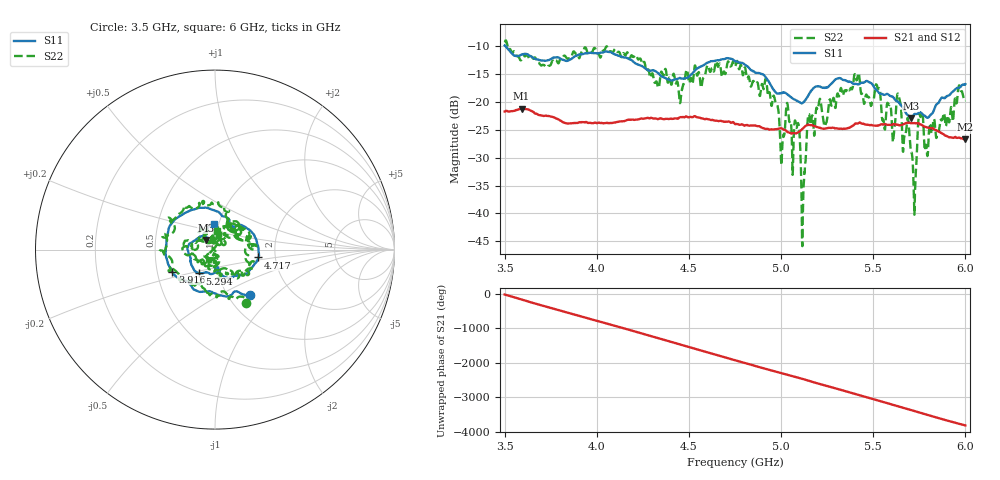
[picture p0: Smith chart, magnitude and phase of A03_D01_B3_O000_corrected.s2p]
! Created with skrf 1.9.0 (http://scikit-rf.org).
# Hz S RI R 50.0
!freq ReS11 ImS11 ReS21 ImS21 ReS12 ImS12 ReS22 ImS22
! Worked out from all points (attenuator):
!   1601 points, 3.5 GHz to 6 GHz, reference 50 ohm
!   highest |S21| = -21.22 dB at 3.592 GHz (marker M1); lowest = -26.7 dB at 6 GHz (marker M2)
!   lowest |S11| = -22.9 dB at 5.705 GHz (marker M3), VSWR 1.16, Z = 45.2 + j4.87 ohm
!   |S11| at or under -10 dB: 3.505 GHz to end of sweep
!   |S22| runs from -45.9 to -9.0 dB; largest |S21 - S12| = 0.0014
!   S11 on the Smith chart (normalised r, x): 3.5 GHz: 1.26, -0.72; 3.916 GHz: 0.60, -0.16; 4.717 GHz: 1.63, -0.15; 5.294 GHz: 0.81, -0.22; 6 GHz: 0.95, +0.28
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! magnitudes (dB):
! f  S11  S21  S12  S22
! 3.5 GHz  -9.9  -21.7  -21.7  -9.3
! 3.592 GHz  -11.5  -21.2  -21.2  -12.4
! 3.916 GHz  -11.4  -23.6  -23.6  -11.2
! 3.917 GHz  -11.4  -23.6  -23.6  -11.0
! 4.334 GHz  -14.9  -23.1  -23.0  -17.5
! 4.717 GHz  -12.2  -23.5  -23.6  -13.0
! 4.75 GHz  -12.6  -24.0  -23.9  -13.6
! 4.969 GHz  -18.2  -24.9  -24.9  -19.9
! 5.006 GHz  -18.4  -24.8  -24.8  -28.2
! 5.086 GHz  -19.8  -25.6  -25.6  -24.5
! 5.119 GHz  -20.1  -24.7  -24.7  -39.0
! 5.145 GHz  -19.0  -24.1  -24.1  -22.9
! 5.167 GHz  -17.8  -24.2  -24.2  -22.6
! 5.294 GHz  -16.0  -24.8  -24.7  -21.1
! 5.411 GHz  -16.8  -23.9  -23.9  -15.9
! 5.584 GHz  -18.7  -24.1  -24.1  -20.4
! 5.639 GHz  -20.1  -24.2  -24.2  -19.1
! 5.705 GHz  -22.9  -23.8  -23.8  -28.9
! 5.723 GHz  -22.2  -23.8  -23.8  -40.2
! 5.756 GHz  -21.9  -24.0  -24.0  -22.7
! 5.787 GHz  -22.7  -24.5  -24.5  -27.7
! 6 GHz  -16.8  -26.7  -26.7  -19.8
